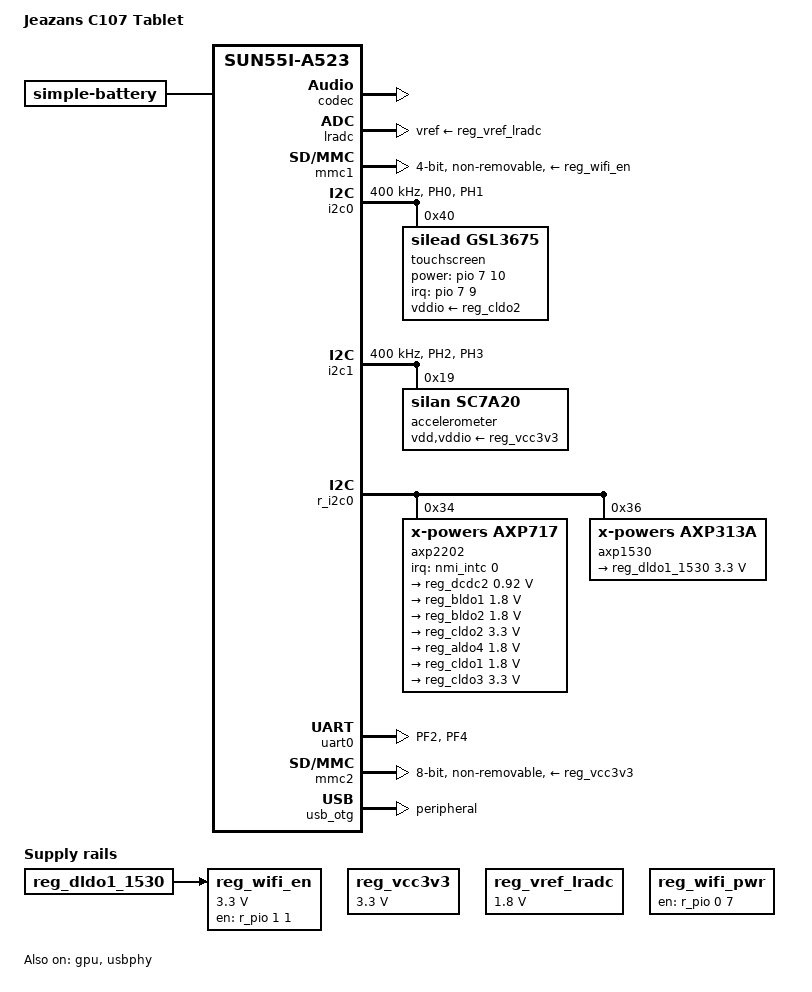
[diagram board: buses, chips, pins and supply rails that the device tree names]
// SPDX-License-Identifier: (GPL-2.0-only OR MIT)
/*
 * Jeazans C107 (BigdroidOS-Tablet, Allwinner A523) – erster Geraetebaum
 * fuer Linux, gleicher Stand wie der fuer U-Boot: Konsole ueber den
 * microSD-Slot (UART0 auf PF2/PF4), eMMC an MMC2, USB-OTG als Geraet
 * (fuer USB-Netzwerk und SSH), WLAN (AIC8800D80 an SDIO/MMC1).
 * Von den PMICs (AXP2202 = AXP717 an 0x34, AXP1530 = AXP313A an 0x36, beide
 * an r_i2c0) sind nur die WLAN-Schienen beschrieben; Regler ohne Eintrag
 * (CPU, DRAM usw.) laesst Linux unangetastet. Werte laut Hersteller-Geraetebaum.
 * Display als uebernommenes Bild des Hersteller-U-Boot (simple-framebuffer, dann
 * der Treiber sun55i_takeover mit Helligkeit und Hintergrundlicht). Touch: Silead
 * GSL3676 an I2C0 (PH0/PH1).
 * GPU (Mali-G57, Panfrost) an DCDC2 der AXP717 wie bei den Referenzboards.
 * Akku, Ladegeraet und Messwerte aus der AXP717 (Treiber axp20x_battery,
 * axp20x_usb_power, axp20x_adc). Lagesensor SC7A20 an I2C1, Lautstaerketasten
 * an der LRADC. Ton ueber den eingebauten Codec.
 * Noch nicht beschrieben: Bluetooth.
 */

/dts-v1/;

#include "sun55i-a523.dtsi"

#include <dt-bindings/gpio/gpio.h>
#include <dt-bindings/input/linux-event-codes.h>

/ {
	model = "Jeazans C107 Tablet";
	compatible = "jeazans,c107", "allwinner,sun55i-a523";

	aliases {
		mmc0 = &mmc2;
		serial0 = &uart0;
	};

	/*
	 * Laut Hersteller-Geraetebaum 4990 mAh, Laden mit 800 mA (die AXP717 stellt
	 * in 64-mA-Schritten) bis 4,35 V. Das Tablet laeuft dauerhaft am Netzteil,
	 * darum steht hier als Ladeschluss bewusst der kleinste Wert der AXP717:
	 * 4,0 V als Sicherung. Der Dienst jeazans-c107-akku-halten aus dem
	 * Geraetepaket stoppt das Laden schon bei rund 3,8 V Ruhespannung.
	 */
	battery: battery {
		compatible = "simple-battery";
		charge-full-design-microamp-hours = <4990000>;
		constant-charge-current-max-microamp = <768000>;
		voltage-max-design-microvolt = <4000000>;
	};

	chosen {
		stdout-path = "serial0:115200n8";

		/*
		 * Der Hersteller-U-Boot schaltet das Panel ein (JD9365DA, 800x1280,
		 * MIPI-DSI mit 4 Lanes an TCON-LCD1/DSI1, 68 MHz) und zeigt das Logo.
		 * Fuer die Display-Engine des A523 hat Linux 7.2 noch keinen Treiber,
		 * simpledrm uebernimmt das Bild. Dafuer muessen Takte und
		 * Power-Domains der Anzeige an bleiben (Liste grosszuegig, mit IOMMU,
		 * durch den die DE liest, und PWM0 fuer die Helligkeit).
		 */
		framebuffer {
			compatible = "simple-framebuffer";
			memory-region = <&fb_mem>;
			width = <800>;
			height = <1280>;
			stride = <3200>;
			format = "a8r8g8b8";
			clocks = <&ccu CLK_BUS_DE>, <&ccu CLK_DE>,
				 <&ccu CLK_BUS_DISPLAY0_TOP>, <&ccu CLK_BUS_DISPLAY1_TOP>,
				 <&ccu CLK_BUS_TCON_LCD1>, <&ccu CLK_TCON_LCD1>,
				 <&ccu CLK_BUS_MIPI_DSI1>, <&ccu CLK_MIPI_DSI1>,
				 <&ccu CLK_COMBOPHY_DSI1>,
				 <&ccu CLK_BUS_IOMMU>, <&ccu CLK_IOMMU>,
				 <&ccu CLK_BUS_PWM0>;
			power-domains = <&pck600 PD_DE>, <&pck600 PD_VO0>;
		};
	};

	reserved-memory {
		#address-cells = <2>;
		#size-cells = <2>;
		ranges;

		/*
		 * Bildspeicher des Hersteller-U-Boot (in seiner Kernel-Zeile:
		 * disp_reserve=4096000,0xb1f13000; "disp" am Prompt: addr[b1f13000]),
		 * 32 Bit pro Pixel. Die Display-Engine liest ihn weiter aus. Die
		 * Adresse haengt am Heap des U-Boot: mit Logos in bootloader_<slot>
		 * 0xb1f13000 (wie unter Android), ohne Logos war es 0xb1f0e000.
		 */
		fb_mem: framebuffer@b1f13000 {
			reg = <0x0 0xb1f13000 0x0 0x3e8000>;
			no-map;
		};
	};

	reg_vcc3v3: vcc3v3 {
		/* Platzhalter: die echte Versorgung kommt aus der PMIC */
		compatible = "regulator-fixed";
		regulator-name = "vcc-3v3";
		regulator-min-microvolt = <3300000>;
		regulator-max-microvolt = <3300000>;
		regulator-always-on;
	};

	/*
	 * Referenz der LRADC: Hersteller "keyboard_1350mv", also 3/4 von 1,8 V.
	 * Die Schiene nennt der Hersteller-DT nicht, darum auch ein Platzhalter.
	 */
	reg_vref_lradc: vref-lradc {
		compatible = "regulator-fixed";
		regulator-name = "vref-lradc";
		regulator-min-microvolt = <1800000>;
		regulator-max-microvolt = <1800000>;
		regulator-always-on;
	};

	/*
	 * PL7 = power_en der Funkmodul-Versorgung: das Hersteller-rfkill setzt
	 * es beim Start dauerhaft auf high ("power_en gpio=359 assert=1"); ohne
	 * meldet sich der AIC8800 nicht am SDIO-Bus (getestet 29.10.).
	 */
	reg_wifi_pwr: regulator-wifi-pwr {
		compatible = "regulator-fixed";
		regulator-name = "vcc-wifi-pwr";
		gpio = <&r_pio 0 7 GPIO_ACTIVE_HIGH>; /* PL7 */
		enable-active-high;
		regulator-always-on;
		regulator-boot-on;
	};

	/*
	 * WL_REG_ON (PM1) als geschalteter Regler hinter DLDO1 statt
	 * mmc-pwrseq-simple: pwrseq-simple reicht eine einzelne reset-gpios-
	 * Leitung an den Reset-Kern weiter (CONFIG_RESET_GPIO), und der kann in
	 * 7.2 nur GPIO-Controller mit 2 Zellen (Allwinner hat 3) -> -ENOENT.
	 */
	reg_wifi_en: regulator-wifi-en {
		compatible = "regulator-fixed";
		regulator-name = "vcc-wifi-en";
		regulator-min-microvolt = <3300000>;
		regulator-max-microvolt = <3300000>;
		vin-supply = <&reg_dldo1_1530>;
		gpio = <&r_pio 1 1 GPIO_ACTIVE_HIGH>; /* PM1 = WL_REG_ON */
		enable-active-high;
		startup-delay-us = <200000>;
	};
};

&{/soc} {
	/*
	 * Treiber sun55i_takeover: die Anzeigekette laeuft weiter, wie der
	 * Hersteller-U-Boot sie eingerichtet hat, der Treiber setzt nur Bildadresse,
	 * Bild-Interrupt und Helligkeit. Darum nur die Register, die er anfasst: die
	 * aktive UI-Ebene (phy6) der Display-Engine, TCON-LCD1 (Interrupt laut
	 * Hersteller-DT) und PWM0 Kanal 0 (auf PD23, 50 kHz). Takte und Power-Domains
	 * wie beim simple-framebuffer, der das Bild bis dahin haelt. PH18 ist
	 * lcd_bl_en des Panels.
	 */
	display@51c1000 {
		compatible = "jeazans,c107-display-takeover";
		reg = <0x051c1000 0x100>, <0x05502000 0x1000>, <0x02000d00 0x10>;
		reg-names = "layer", "tcon", "pwm";
		interrupts = <GIC_SPI 92 IRQ_TYPE_LEVEL_HIGH>;
		clocks = <&ccu CLK_BUS_DE>, <&ccu CLK_DE>,
			 <&ccu CLK_BUS_DISPLAY0_TOP>, <&ccu CLK_BUS_DISPLAY1_TOP>,
			 <&ccu CLK_BUS_TCON_LCD1>, <&ccu CLK_TCON_LCD1>,
			 <&ccu CLK_BUS_MIPI_DSI1>, <&ccu CLK_MIPI_DSI1>,
			 <&ccu CLK_COMBOPHY_DSI1>,
			 <&ccu CLK_BUS_IOMMU>, <&ccu CLK_IOMMU>,
			 <&ccu CLK_BUS_PWM0>;
		power-domains = <&pck600 PD_DE>, <&pck600 PD_VO0>;
		backlight-enable-gpios = <&pio 7 18 GPIO_ACTIVE_HIGH>; /* PH18 */
	};

	/*
	 * Eingebauter Codec, fehlt noch in der A523-dtsi (Treiber sun55i-a523-codec,
	 * Patch 0014). Werte aus dem Hersteller-DT: Die Lautsprecher haengen an
	 * LINEOUT hinter einem Verstaerker an PH6 (aktiv high), die Kopfhoerer an
	 * HPOUT, die Buchse meldet sich mit jack-det-level 0.
	 */
	codec: codec@7110000 {
		compatible = "allwinner,sun55i-a523-codec";
		reg = <0x07110000 0x350>;
		interrupts = <GIC_SPI 190 IRQ_TYPE_LEVEL_HIGH>;
		clocks = <&mcu_ccu CLK_BUS_MCU_AUDIO_CODEC>,
			 <&mcu_ccu CLK_MCU_AUDIO_CODEC_DAC>,
			 <&mcu_ccu CLK_MCU_AUDIO_CODEC_ADC>;
		clock-names = "bus", "dac", "adc";
		resets = <&mcu_ccu RST_BUS_MCU_AUDIO_CODEC>;
		dmas = <&mcu_dma 7>, <&mcu_dma 7>;
		dma-names = "tx", "rx";
		avcc-supply = <&reg_aldo4>;
		vdd-supply = <&reg_cldo3>;
		cpvin-supply = <&reg_cldo1>;
		allwinner,pa-gpios = <&pio 7 6 GPIO_ACTIVE_HIGH>; /* PH6 */
		allwinner,jack-det-level-low;
	};

	/*
	 * Lautstaerketasten; die LRADC fehlt noch in der A523-dtsi. Register wie
	 * bei R329/H616, Adresse, Interrupt und Nennspannungen (646 und 1080 mV)
	 * aus dem Hersteller-DT.
	 */
	lradc: lradc@2009800 {
		compatible = "allwinner,sun55i-a523-lradc",
			     "allwinner,sun50i-r329-lradc";
		reg = <0x2009800 0x100>;
		interrupts = <GIC_SPI 66 IRQ_TYPE_LEVEL_HIGH>;
		clocks = <&ccu CLK_BUS_LRADC>;
		resets = <&ccu RST_BUS_LRADC>;
		vref-supply = <&reg_vref_lradc>;

		button-646 {
			label = "Volume Up";
			linux,code = <KEY_VOLUMEUP>;
			channel = <0>;
			voltage = <646000>;
		};

		button-1080 {
			label = "Volume Down";
			linux,code = <KEY_VOLUMEDOWN>;
			channel = <0>;
			voltage = <1080000>;
		};
	};
};

&mmc1 {
	/* AIC8800D80, Treiber ohne DT-Bindung (erkennt den Chip an der SDIO-ID) */
	bus-width = <4>;
	non-removable;
	vmmc-supply = <&reg_wifi_en>;
	vqmmc-supply = <&reg_bldo1>;
	status = "okay";
};

&gpu {
	mali-supply = <&reg_dcdc2>;
	status = "okay";
};

&i2c0 {
	pinctrl-names = "default";
	pinctrl-0 = <&i2c0_ph_pins>;
	clock-frequency = <400000>;
	status = "okay";

	/*
	 * Touch-Controller: Silead GSL3676 (Hersteller-DT: gslX680, Konfiguration
	 * "gslX680_3676_1280x800_yhk"); der Treiber silead unterscheidet die
	 * GSL-Typen nicht. Der Chip hat keinen Flash, die Firmware kommt aus
	 * firmware-jeazans-c107-gslx680 (aus der Android-Sicherung umgesetzt).
	 * Ohne Androids Auswertungsalgorithmus kommen Rohwerte im Querformat:
	 * X 0..1663 von links nach rechts, Y 0..895 von oben nach unten
	 * (26 x 14 Sensorleitungen x 64, gemessen am 29.10.). Tauschen und
	 * Spiegeln bringt sie in die Ausrichtung des Panels (hochkant 800x1280,
	 * wie simpledrm), die Oberflaeche dreht dann beides zusammen.
	 */
	touchscreen@40 {
		compatible = "silead,gsl3675";
		reg = <0x40>;
		interrupt-parent = <&pio>;
		interrupts = <7 9 IRQ_TYPE_EDGE_FALLING>;	/* PH9 */
		power-gpios = <&pio 7 10 GPIO_ACTIVE_HIGH>;	/* PH10 (wakeup) */
		vddio-supply = <&reg_cldo2>;
		firmware-name = "gsl3676-jeazans-c107.fw";
		touchscreen-size-x = <1664>;
		touchscreen-size-y = <896>;
		touchscreen-inverted-y;
		touchscreen-swapped-x-y;
	};
};

&i2c1 {
	pinctrl-names = "default";
	pinctrl-0 = <&i2c1_ph_pins>;
	clock-frequency = <400000>;
	status = "okay";

	/*
	 * Lagesensor SC7A20. Der Hersteller-DT nennt INT1 an PH11, sein Treiber
	 * fragt den Chip aber nur ab. Ohne interrupts gibt es hier keinen Trigger,
	 * iio-sensor-proxy liest dann ebenfalls per Abfrage.
	 */
	accelerometer@19 {
		compatible = "silan,sc7a20";
		reg = <0x19>;
		vdd-supply = <&reg_vcc3v3>;
		vddio-supply = <&reg_vcc3v3>;
		/*
		 * Gemessen am 30.10.: Querlage (rechte Panelkante oben) x = +1 g,
		 * Panel aufrecht y = -1 g, flach mit Bildschirm nach oben z = -1 g.
		 * iio-sensor-proxy will fuer "normal" y < 0 und fuer "right-up" x < 0.
		 */
		mount-matrix = "-1", "0", "0",
			       "0", "1", "0",
			       "0", "0", "-1";
	};
};

&pio {
	vcc-pg-supply = <&reg_bldo1>;	/* PG-Bank (SDIO) mit 1,8 V wie beim Hersteller */

	/* Mux-Werte aus pinctrl-sun55iw3.ko des Herstellers (PH0-PH3: 2 = twi0, twi1) */
	i2c0_ph_pins: i2c0-ph-pins {
		pins = "PH0", "PH1";
		allwinner,pinmux = <2>;
		function = "i2c0";
		bias-pull-up;
	};

	i2c1_ph_pins: i2c1-ph-pins {
		pins = "PH2", "PH3";
		allwinner,pinmux = <2>;
		function = "i2c1";
		bias-pull-up;
	};

	uart0_pf_pins: uart0-pf-pins {
		pins = "PF2", "PF4";
		allwinner,pinmux = <3>;
		function = "uart0";
	};
};

&r_i2c0 {
	status = "okay";

	/* Haupt-PMIC; Interrupt ueber den NMI-Eingang wie beim Hersteller */
	axp2202: pmic@34 {
		compatible = "x-powers,axp717";
		reg = <0x34>;
		interrupt-controller;
		#interrupt-cells = <1>;
		interrupts-extended = <&nmi_intc 0 IRQ_TYPE_LEVEL_LOW>;

		axp717_adc: adc {
			compatible = "x-powers,axp717-adc";
			#io-channel-cells = <1>;
		};

		/* Fuehler am TS-Eingang ist vorhanden, die AXP717 wertet ihn selbst aus */
		battery-power {
			compatible = "x-powers,axp717-battery-power-supply";
			monitored-battery = <&battery>;
		};

		/* 2 A wie vom Hersteller-U-Boot eingestellt (Android: 1,9 A am Netzteil) */
		usb-power {
			compatible = "x-powers,axp717-usb-power-supply";
			input-current-limit-microamp = <2000000>;
		};

		regulators {
			reg_dcdc2: dcdc2 {
				/*
				 * GPU und Systemteile; beim Hersteller boot-on und
				 * always-on, die GPU lief dort mit 920 mV (bis 696 MHz).
				 * Wie bei Orange Pi 4A und Avaota A1 fest auf 920 mV.
				 */
				regulator-always-on;
				regulator-min-microvolt = <920000>;
				regulator-max-microvolt = <920000>;
				regulator-name = "vdd-gpu-sys";
			};

			reg_bldo1: bldo1 {
				regulator-min-microvolt = <1800000>;
				regulator-max-microvolt = <1800000>;
				regulator-name = "vcc-pg-wifi";
			};

			reg_bldo2: bldo2 {
				/* beim Hersteller boot-on und always-on */
				regulator-always-on;
				regulator-min-microvolt = <1800000>;
				regulator-max-microvolt = <1800000>;
				regulator-name = "vcc-pm";
			};

			reg_cldo2: cldo2 {
				/* nur fuer den Touch-Controller (ctp-supply, 3,3 V) */
				regulator-min-microvolt = <3300000>;
				regulator-max-microvolt = <3300000>;
				regulator-name = "vcc-ctp";
			};

			/*
			 * Versorgung des Codecs, Spannungen laut Hersteller-DT. Fest an wie
			 * bisher: Der U-Boot schaltet sie ein, CLDO1 und CLDO3 sind geteilt.
			 */
			reg_aldo4: aldo4 {
				regulator-always-on;
				regulator-min-microvolt = <1800000>;
				regulator-max-microvolt = <1800000>;
				regulator-name = "vcc-audio-avcc";
			};

			reg_cldo1: cldo1 {
				regulator-always-on;
				regulator-min-microvolt = <1800000>;
				regulator-max-microvolt = <1800000>;
				regulator-name = "vcc-audio-cpvin";
			};

			reg_cldo3: cldo3 {
				regulator-always-on;
				regulator-min-microvolt = <3300000>;
				regulator-max-microvolt = <3300000>;
				regulator-name = "vcc-audio-vdd";
			};
		};
	};

	/*
	 * Zusatz-PMIC ohne Interrupt-Leitung (nur Regler). Versorgt auch die
	 * grossen CPU-Kerne (DCDC1), deshalb hier nur DLDO1 beschreiben.
	 */
	axp1530: pmic@36 {
		compatible = "x-powers,axp313a";
		reg = <0x36>;

		regulators {
			reg_dldo1_1530: dldo1 {
				regulator-min-microvolt = <3300000>;
				regulator-max-microvolt = <3300000>;
				regulator-name = "vcc-wifi";
			};
		};
	};
};

&uart0 {
	pinctrl-names = "default";
	pinctrl-0 = <&uart0_pf_pins>;
	status = "okay";
};

&mmc2 {
	vmmc-supply = <&reg_vcc3v3>;
	bus-width = <8>;
	non-removable;
	cap-mmc-hw-reset;
	status = "okay";
};

&usb_otg {
	dr_mode = "peripheral";
	status = "okay";
};

&usbphy {
	status = "okay";
};
